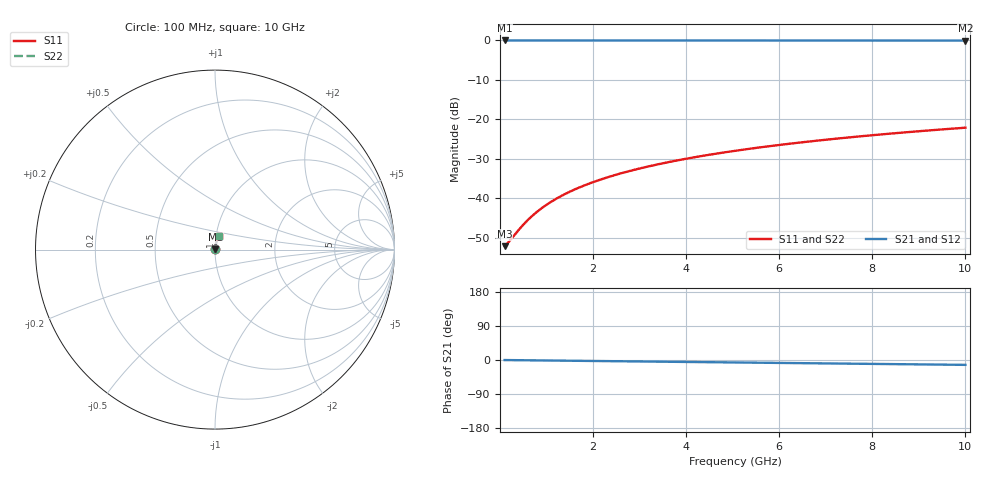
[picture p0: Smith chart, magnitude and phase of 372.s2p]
# Hz S RI R 50.00
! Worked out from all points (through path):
!   100 points, 100 MHz to 10 GHz, reference 50 ohm
!   highest |S21| = -0.02 dB at 100 MHz (marker M1); lowest = -0.1 dB at 10 GHz (marker M2)
!   group delay of S21, straight-line fit = 3.57 ps
!   lowest |S11| = -52.2 dB at 100 MHz (marker M3), VSWR 1.00, Z = 50.2 + j0.0788 ohm
!   |S11| at or under -10 dB: start of sweep to end of sweep
!   |S22| runs from -52.2 to -22.1 dB; largest |S21 - S12| = 0
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1e8  0.00234 0.000784  0.9977 -0.00224  0.9977 -0.00224  0.00234 0.000784
2e8  0.00236 0.00157  0.9976 -0.00447  0.9976 -0.00447  0.00236 0.00157
4e8  0.0024 0.00314  0.9976 -0.00894  0.9976 -0.00894  0.0024 0.00314
5e8  0.00242 0.00392  0.9975 -0.0112  0.9975 -0.0112  0.00242 0.00392
6e8  0.00245 0.00471  0.9975 -0.0134  0.9975 -0.0134  0.00245 0.00471
7e8  0.00248 0.00549  0.9975 -0.0156  0.9975 -0.0156  0.00248 0.00549
9e8  0.00255 0.00706  0.9974 -0.0201  0.9974 -0.0201  0.00255 0.00706
1.1e9  0.00262 0.00862  0.9972 -0.0246  0.9972 -0.0246  0.00262 0.00862
1.3e9  0.00272 0.0102  0.9971 -0.0291  0.9971 -0.0291  0.00272 0.0102
1.5e9  0.00282 0.0118  0.9969 -0.0335  0.9969 -0.0335  0.00282 0.0118
1.8e9  0.003 0.0141  0.9966 -0.0402  0.9966 -0.0402  0.003 0.0141
2.1e9  0.00322 0.0164  0.9963 -0.0469  0.9963 -0.0469  0.00322 0.0164
2.5e9  0.00355 0.0196  0.9958 -0.0558  0.9958 -0.0558  0.00355 0.0196
2.9e9  0.00394 0.0227  0.9951 -0.0648  0.9951 -0.0648  0.00394 0.0227
3.4e9  0.0045 0.0265  0.9942 -0.0759  0.9942 -0.0759  0.0045 0.0265
4.2e9  0.00558 0.0327  0.9925 -0.0937  0.9925 -0.0937  0.00558 0.0327
5.1e9  0.00706 0.0396  0.9901 -0.1137  0.9901 -0.1137  0.00706 0.0396
5.9e9  0.00861 0.0457  0.9876 -0.1314  0.9876 -0.1314  0.00861 0.0457
6.7e9  0.0104 0.0517  0.9848 -0.1491  0.9848 -0.1491  0.0104 0.0517
7.5e9  0.0124 0.0577  0.9816 -0.1666  0.9816 -0.1666  0.0124 0.0577
8.4e9  0.0148 0.0643  0.9776 -0.1863  0.9776 -0.1863  0.0148 0.0643
1e10  0.0199 0.0757  0.9693 -0.2211  0.9693 -0.2211  0.0199 0.0757
